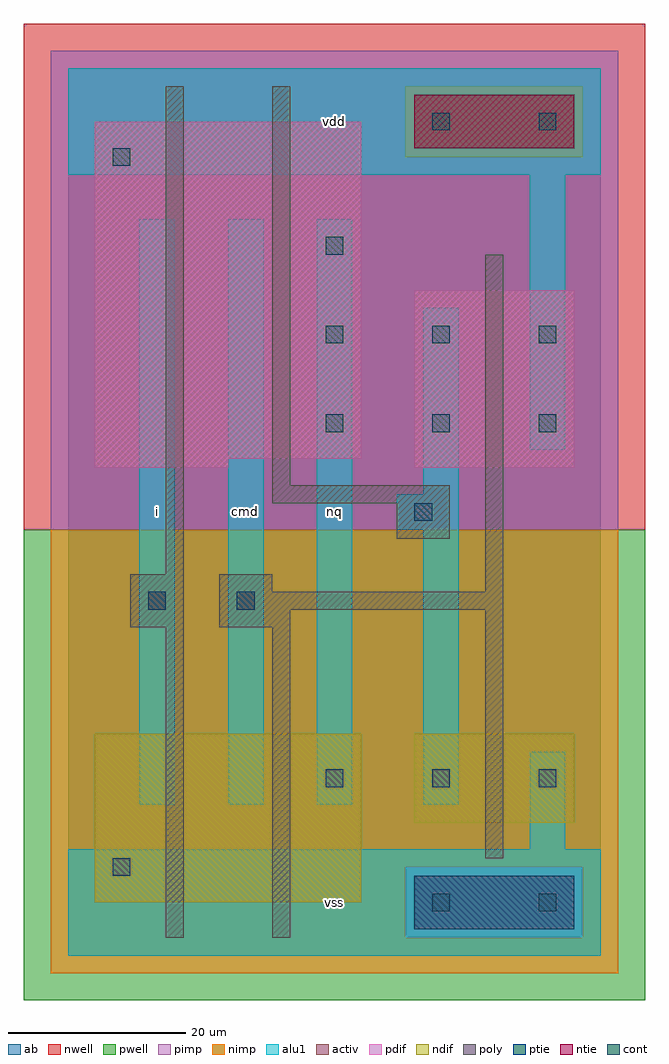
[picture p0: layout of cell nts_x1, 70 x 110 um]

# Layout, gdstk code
import gdstk
lib = gdstk.Library(unit=1e-6, precision=1e-09)
def R(c, l, rs):  # rectangles x0, y0, x1, y1
    for r in rs: c.add(gdstk.rectangle(r[:2], r[2:], *l))
def A(c, l, x, y, w, h, nx, ny, dx, dy):  # array of equal rectangles
    R(c, l, [(x+i*dx, y+j*dy, x+i*dx+w, y+j*dy+h) for i in range(nx) for j in range(ny)])
ndif = (3, 0)
pdif = (4, 0)
ntie = (5, 0)
ptie = (6, 0)
cont = (25, 0)
pwell = (41, 0)
nwell = (42, 0)
activ = (43, 0)
pimp = (44, 0)
nimp = (45, 0)
poly = (46, 0)
alu1 = (49, 0)
ab = (63, 0)

nts_x1 = lib.new_cell('nts_x1')
R(nts_x1, ndif, [(3,6,33,25), (39,15,57,25)])
R(nts_x1, pdif, [(3,55,18,56), (39,55,57,75), (3,56,33,94)])
R(nts_x1, ntie, [(39,91,57,97)])
R(nts_x1, ptie, [(39,3,57,9)])
A(nts_x1, cont, 29, 19, 2, 2, 3, 2, 12, 40)
A(nts_x1, cont, 29, 69, 2, 2, 3, 1, 12, 0)
R(nts_x1, cont, [(41,5,43,7), (53,5,55,7), (5,9,7,11), (9,39,11,41), (19,39,21,41), (39,49,41,51), (29,79,31,81), (5,89,7,91), (41,93,43,95), (53,93,55,95)])
R(nts_x1, pwell, [(-5,-5,65,48)])
R(nts_x1, nwell, [(-5,48,65,105)])
R(nts_x1, activ, [(39,3,57,9), (3,6,33,25), (39,15,57,25), (3,55,18,56), (39,55,57,75), (3,56,33,94), (39,91,57,97)])
R(nts_x1, pimp, [(38,2,58,10), (-2,48,62,90), (-2,90,38,98), (58,90,62,98), (-2,98,62,102)])
R(nts_x1, nimp, [(-2,-2,62,2), (-2,2,38,10), (58,2,62,10), (-2,10,62,48), (38,90,58,98)])
R(nts_x1, poly, [(11,2,13,37), (23,2,25,37), (47,11,49,39), (7,37,13,43), (17,37,25,39), (17,39,49,41), (17,41,23,43), (47,41,49,79), (11,43,13,98), (37,47,43,51), (23,51,43,53), (23,53,25,98)])
A(nts_x1, alu1, 8, 17, 4, 66, 3, 1, 10, 0)
R(nts_x1, alu1, [(0,0,60,12), (52,12,56,23), (40,17,44,48), (37,48,44,52), (40,52,44,73), (52,57,56,88), (0,88,60,100)])
R(nts_x1, ab, [(0,0,60,100)])
nts_x1.add(gdstk.Label('i', (10,50), layer=49, texttype=0))
nts_x1.add(gdstk.Label('vss', (30,6), layer=49, texttype=0))
nts_x1.add(gdstk.Label('cmd', (20,50), layer=49, texttype=0))
nts_x1.add(gdstk.Label('nq', (30,50), layer=49, texttype=0))
nts_x1.add(gdstk.Label('vdd', (30,94), layer=49, texttype=0))

lib.write_gds('nts_x1.gds')
